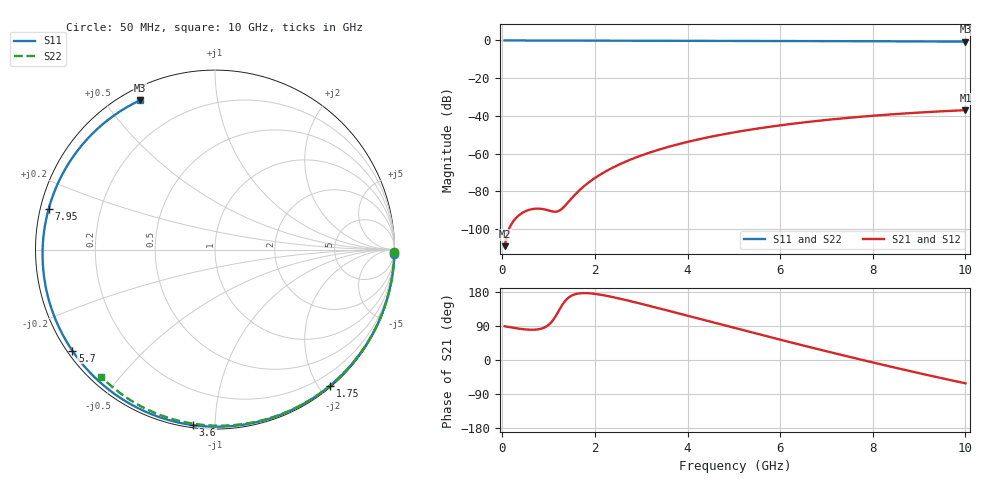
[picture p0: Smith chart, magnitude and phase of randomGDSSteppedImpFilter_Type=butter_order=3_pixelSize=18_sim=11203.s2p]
! freq	dB(S11)	phase(S11)	dB(S12)	phase(S12)
!  dB(S21)	phase(S21)	dB(S22)	phase(S22)
!S-par simulation data
#  GHz  S  DB  R 50
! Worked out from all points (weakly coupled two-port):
!   200 points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, 50 MHz to 10 GHz, reference 50 ohm
!   highest |S21| = -36.98 dB at 10 GHz (marker M1); lowest = -109.1 dB at 50 MHz (marker M2)
!   lowest |S11| = -0.6 dB at 10 GHz (marker M3), VSWR 27.89, Z = 2.48 + j30.8 ohm
!   |S11| at or under -10 dB: nowhere
!   |S22| runs from -0.4 to 0.0 dB; largest |S21 - S12| = 0
!   S11 on the Smith chart (normalised r, x): 50 MHz: 0, -78; 1.75 GHz: 0.02, -2.15; 3.6 GHz: 0.01, -0.88; 5.7 GHz: 0.01, -0.32; 7.95 GHz: 0.02, +0.12; 10 GHz: 0.05, +0.62
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0.05  -0.00 -1.5  -109.14 89.1  -109.14 89.1  -0.00 -0.8
0.4  -0.02 -11.7  -91.98 82.1  -91.98 82.1  -0.01 -6.1
0.8  -0.03 -23.2  -89.24 81.5  -89.24 81.5  -0.02 -12.1
1.2  -0.04 -34.6  -90.66 125.7  -90.66 125.7  -0.02 -18.1
1.6  -0.06 -45.7  -81.04 174.4  -81.04 174.4  -0.03 -24.1
1.65  -0.06 -47.1  -79.84 175.6  -79.84 175.6  -0.03 -24.8
1.75  -0.06 -49.8  -77.62 176.5  -77.62 176.5  -0.03 -26.3
2.05  -0.07 -57.9  -72.16 173.6  -72.16 173.6  -0.04 -30.7
2.45  -0.09 -68.5  -66.68 164.3  -66.68 164.3  -0.05 -36.5
2.9  -0.10 -80.0  -61.94 151.3  -61.94 151.3  -0.06 -43.0
3.4  -0.12 -92.4  -57.79 135.8  -57.79 135.8  -0.07 -50.1
3.6  -0.13 -97.2  -56.36 129.5  -56.36 129.5  -0.07 -52.8
4.3  -0.15 -113.6  -52.13 107.1  -52.13 107.1  -0.09 -62.5
5.05  -0.19 -130.5  -48.57 83.3  -48.57 83.3  -0.11 -72.4
5.7  -0.23 -144.7  -46.05 62.9  -46.05 62.9  -0.13 -80.9
6.2  -0.26 -155.5  -44.40 47.4  -44.40 47.4  -0.16 -87.2
6.7  -0.30 -166.3  -42.95 32.1  -42.95 32.1  -0.18 -93.4
7.35  -0.35 179.6  -41.32 12.6  -41.32 12.6  -0.22 -101.2
7.95  -0.41 166.2  -40.04 -5.0  -40.04 -5.0  -0.26 -108.4
8.35  -0.45 157.1  -39.30 -16.5  -39.30 -16.5  -0.29 -113.0
9.15  -0.53 138.1  -38.04 -38.9  -38.04 -38.9  -0.36 -122.2
10  -0.62 116.6  -36.98 -61.5  -36.98 -61.5  -0.45 -131.9
